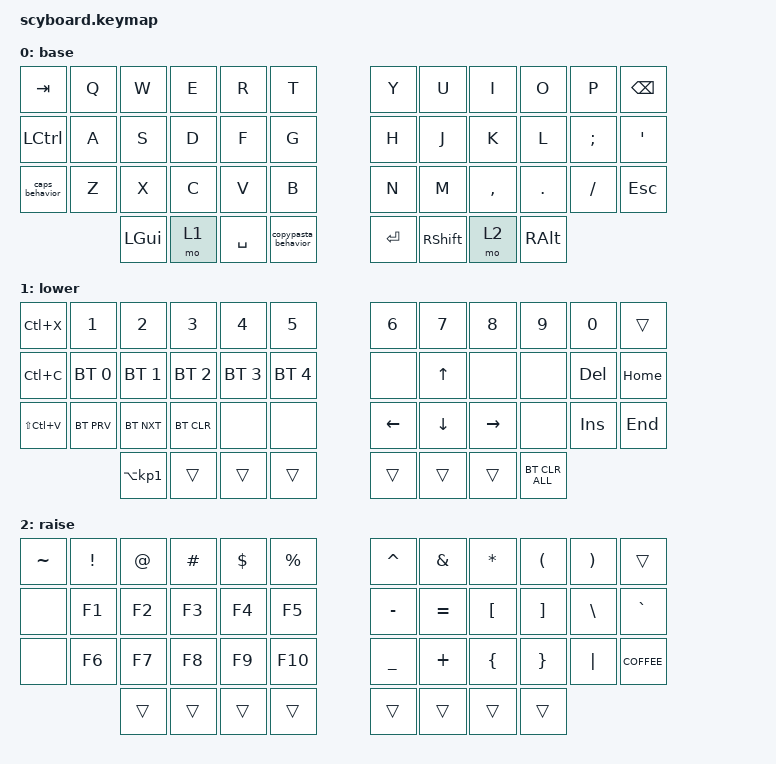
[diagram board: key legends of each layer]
#include <behaviors.dtsi>
#include <dt-bindings/zmk/bt.h>
#include <dt-bindings/zmk/keys.h>

/ {
    macros {
        paste_macro: paste_macro {
            compatible = "zmk,behavior-macro";
            #binding-cells = <0>;
            bindings = <&macro_press>, <&kp LS(LC(V))>, <&macro_release>;

            label = "PASTE_MACRO";
        };
    };

    behaviors {
        caps_behavior: caps_behavior {
            compatible = "zmk,behavior-tap-dance";
            label = "CAPS_BEHAVIOR";
            #binding-cells = <0>;
            bindings = <&kp LEFT_SHIFT>, <&kp CAPS>;
        };

        copypasta_behavior: copypasta_behavior {
            compatible = "zmk,behavior-tap-dance";
            label = "COPYPASTA_BEHAVIOR";
            #binding-cells = <0>;
            bindings = <&kp LC(C)>, <&kp LC(V)>;

            tapping-term-ms = <500>;
        };
    };

    keymap {
        compatible = "zmk,keymap";

        base {
            bindings = <
&kp TAB         &kp Q  &kp W     &kp E  &kp R      &kp T                      &kp Y      &kp U       &kp I      &kp O       &kp P     &kp BACKSPACE
&kp LCTRL       &kp A  &kp S     &kp D  &kp F      &kp G                      &kp H      &kp J       &kp K      &kp L       &kp SEMI  &kp SQT
&caps_behavior  &kp Z  &kp X     &kp C  &kp V      &kp B                      &kp N      &kp M       &kp COMMA  &kp PERIOD  &kp FSLH  &kp ESC
                       &kp LGUI  &mo 1  &kp SPACE  &copypasta_behavior        &kp ENTER  &kp RSHIFT  &mo 2      &kp RALT
            >;
        };

        lower {
            bindings = <
&kp LC(X)      &kp N1        &kp N2               &kp N3        &kp N4        &kp N5              &kp N6    &kp N7    &kp N8     &kp N9          &kp N0   &trans
&kp LC(C)      &bt BT_SEL 0  &bt BT_SEL 1         &bt BT_SEL 2  &bt BT_SEL 3  &bt BT_SEL 4        &none     &kp UP    &none      &none           &kp DEL  &kp HOME
&kp LS(LC(V))  &bt BT_PRV    &bt BT_NXT           &bt BT_CLR    &none         &none               &kp LEFT  &kp DOWN  &kp RIGHT  &none           &kp INS  &kp END
                             &kp LA(KP_NUMBER_1)  &trans        &trans        &trans              &trans    &trans    &trans     &bt BT_CLR_ALL
            >;
        };

        raise {
            bindings = <
&kp TILDE  &kp EXCL  &kp AT  &kp HASH  &kp DLLR  &kp PRCNT        &kp CARET  &kp AMPS   &kp STAR  &kp LPAR  &kp RPAR  &trans
&none      &kp F1    &kp F2  &kp F3    &kp F4    &kp F5           &kp MINUS  &kp EQUAL  &kp LBKT  &kp RBKT  &kp BSLH  &kp GRAVE
&none      &kp F6    &kp F7  &kp F8    &kp F9    &kp F10          &kp UNDER  &kp PLUS   &kp LBRC  &kp RBRC  &kp PIPE  &kp K_COFFEE
                     &trans  &trans    &trans    &trans           &trans     &trans     &trans    &trans
            >;
        };
    };
};
